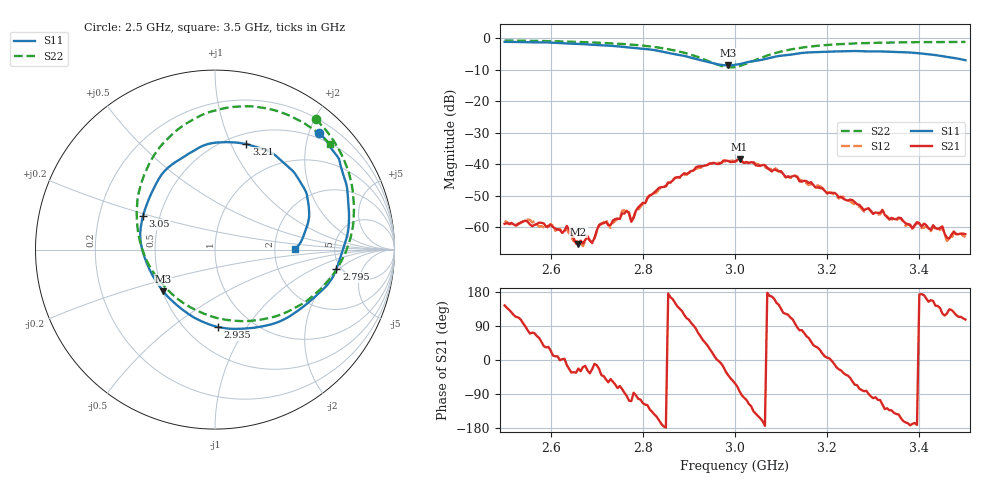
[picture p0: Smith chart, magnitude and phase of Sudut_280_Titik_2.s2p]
# Hz S RI R 50
! CMT, C1220, 16058040, 17.2.0/1
! Date: 15/08/2018 10:52:32
! Data: Format (Calibration Info)
! Freq  S11: Re/Im (F2)  S21: Re/Im (F2)  S12: Re/Im (F2)  S22: Re/Im (F2)
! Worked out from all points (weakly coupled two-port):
!   201 points, 2.5 GHz to 3.5 GHz, reference 50 ohm
!   highest |S21| = -38.35 dB at 3.01 GHz (marker M1); lowest = -65.2 dB at 2.66 GHz (marker M2)
!   lowest |S11| = -8.6 dB at 2.985 GHz (marker M3), VSWR 2.18, Z = 25.1 - j13.6 ohm
!   |S11| at or under -10 dB: nowhere
!   |S22| runs from -9.2 to -0.7 dB; largest |S21 - S12| = 0.00079
!   S11 on the Smith chart (normalised r, x): 2.5 GHz: 0.40, +2.17; 2.795 GHz: 4.56, -1.85; 2.935 GHz: 0.71, -0.75; 3.05 GHz: 0.40, +0.19; 3.21 GHz: 0.61, +1.14; 3.5 GHz: 2.62, +0.01
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2.5e9  0.5802 0.6524  -0.000925 0.00067  -0.00104 0.000723  0.5615 0.7268
2.635e9  0.7235 0.3908  0.00103 -0.000248  0.0009 -0.000247  0.7056 0.5286
2.66e9  0.7365 0.3366  0.000509 -0.000211  0.000577 -0.000234  0.7273 0.4778
2.67e9  0.7388 0.3149  0.000534 -0.00018  0.00046 -0.00021  0.7358 0.4561
2.69e9  0.7438 0.2507  0.000525 -0.000237  0.00051 -0.000242  0.7504 0.4107
2.72e9  0.7465 0.1658  0.000766 -0.000959  0.000806 -0.00108  0.7667 0.3335
2.73e9  0.745 0.1361  0.000699 -0.00084  0.00056 -0.000821  0.7693 0.306
2.765e9  0.7163 0.0108  -0.00015 -0.00184  -0.000238 -0.00188  0.7734 0.2006
2.775e9  0.7049 -0.0243  -0.00039 -0.00117  -0.000436 -0.00115  0.7718 0.1657
2.795e9  0.6763 -0.1077  -0.000562 -0.0022  -0.000564 -0.00206  0.7622 0.0944
2.835e9  0.5768 -0.2449  -0.00397 -0.00151  -0.00374 -0.00157  0.7038 -0.0648
2.935e9  0.0169 -0.4313  0.00665 0.0069  0.00636 0.00728  0.2239 -0.3942
2.985e9  -0.2891 -0.2327  0.00871 -0.00727  0.00909 -0.00701  -0.1747 -0.2984
3e9  -0.3507 -0.1394  0.00522 -0.00973  0.00476 -0.01  -0.2762 -0.2111
3.01e9  -0.3817 -0.0709  0.00147 -0.012  0.00148 -0.0115  -0.3322 -0.1433
3.05e9  -0.4011 0.1874  -0.0081 -0.00505  -0.00875 -0.00501  -0.4355 0.1695
3.17e9  0.0232 0.5972  0.00367 0.00301  0.00346 0.00331  -0.0947 0.7395
3.21e9  0.1743 0.5882  0.00351 -0.000134  0.00351 -0.000389  0.051 0.7874
3.335e9  0.4667 0.3908  -0.000904 -0.000983  -0.000917 -0.00104  0.3896 0.7569
3.45e9  0.5057 0.1109  -0.000563 0.000877  -0.000582 0.000808  0.5819 0.6434
3.46e9  0.4961 0.0855  -0.000373 0.000581  -0.000288 0.00054  0.5947 0.6334
3.5e9  0.447 0.00221  -0.000226 0.000751  -0.000165 0.000692  0.642 0.5866
